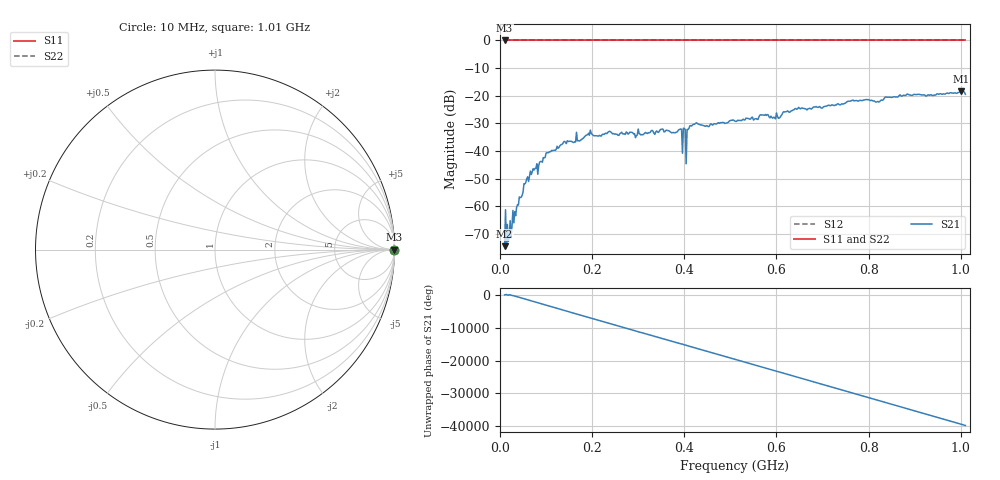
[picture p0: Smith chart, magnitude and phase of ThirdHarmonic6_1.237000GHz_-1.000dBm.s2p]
! 8/16/2025 1:06:57 PM
! C:\ANRITSUVNA\TEMP\TEMP.S2P
! CHANNEL.1
! TR.MEASUREMENT
! RAW.DATA
! RF.CORRECTION.OFF
! AVERAGING.OFF
! IF.BANDWIDTH: 5KHZ
! SWEEPTYPE:  FREQ.SWEEP(Linear)
! Reference Plane Port Info
! PORT:  PORT1  PORT2
! DISTANCE:  0  m  0  m
! TIME:  0  s  0  s
! PHASE.OFFSET:  0  deg.  0  deg.
! LOSS:  0  dB  0  dB
! REF.LOSS:  0  dB  0  dB
! REF.FREQ:  0  Hz  0  Hz
! Power Info
! POWER:  -20  dBm  -20  dBm
! EFF.POWER:  -20  dBm  -20  dBm
! SOURCE.ATTEN:  0  dB  0  dB
! TEST.ATTEN:  0  dB  0  dB
# GHZ S RI R 50.0
! FREQ.GHZ  S11RE  S11IM  S21RE  S21IM  S12RE  S12IM  S22RE  S22IM
!; PortSelection: Port_12
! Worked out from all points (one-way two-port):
!   501 points, 10 MHz to 1.01 GHz, reference 50 ohm
!   highest |S21| = -18.38 dB at 1 GHz (marker M1); lowest = -74.4 dB at 10 MHz (marker M2)
!   lowest |S11| = 0.0 dB at 10 MHz (marker M3)
!   |S11| at or under -10 dB: nowhere
!   |S22| runs from 0.0 to 0.0 dB; largest |S21 - S12| = 1.1
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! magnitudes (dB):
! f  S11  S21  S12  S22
! 10 MHz  0.0  -74.4  0.0  0.0
! 16 MHz  0.0  -66.5  0.0  0.0
! 22 MHz  0.0  -65.1  0.0  0.0
! 32 MHz  0.0  -61.9  0.0  0.0
! 56 MHz  0.0  -51.4  0.0  0.0
! 70 MHz  0.0  -47.5  0.0  0.0
! 104 MHz  0.0  -40.7  0.0  0.0
! 142 MHz  0.0  -36.8  0.0  0.0
! 178 MHz  0.0  -35.6  0.0  0.0
! 196 MHz  0.0  -32.4  0.0  0.0
! 344 MHz  0.0  -33.2  0.0  0.0
! 390 MHz  0.0  -32.1  0.0  0.0
! 398 MHz  0.0  -31.7  0.0  0.0
! 400 MHz  0.0  -31.8  0.0  0.0
! 408 MHz  0.0  -32.2  0.0  0.0
! 410 MHz  0.0  -31.8  0.0  0.0
! 422 MHz  0.0  -30.3  0.0  0.0
! 510 MHz  0.0  -29.1  0.0  0.0
! 678 MHz  0.0  -24.5  0.0  0.0
! 844 MHz  0.0  -20.5  0.0  0.0
! 1 GHz  0.0  -18.4  0.0  0.0
! 1.01 GHz  0.0  -19.4  0.0  0.0
